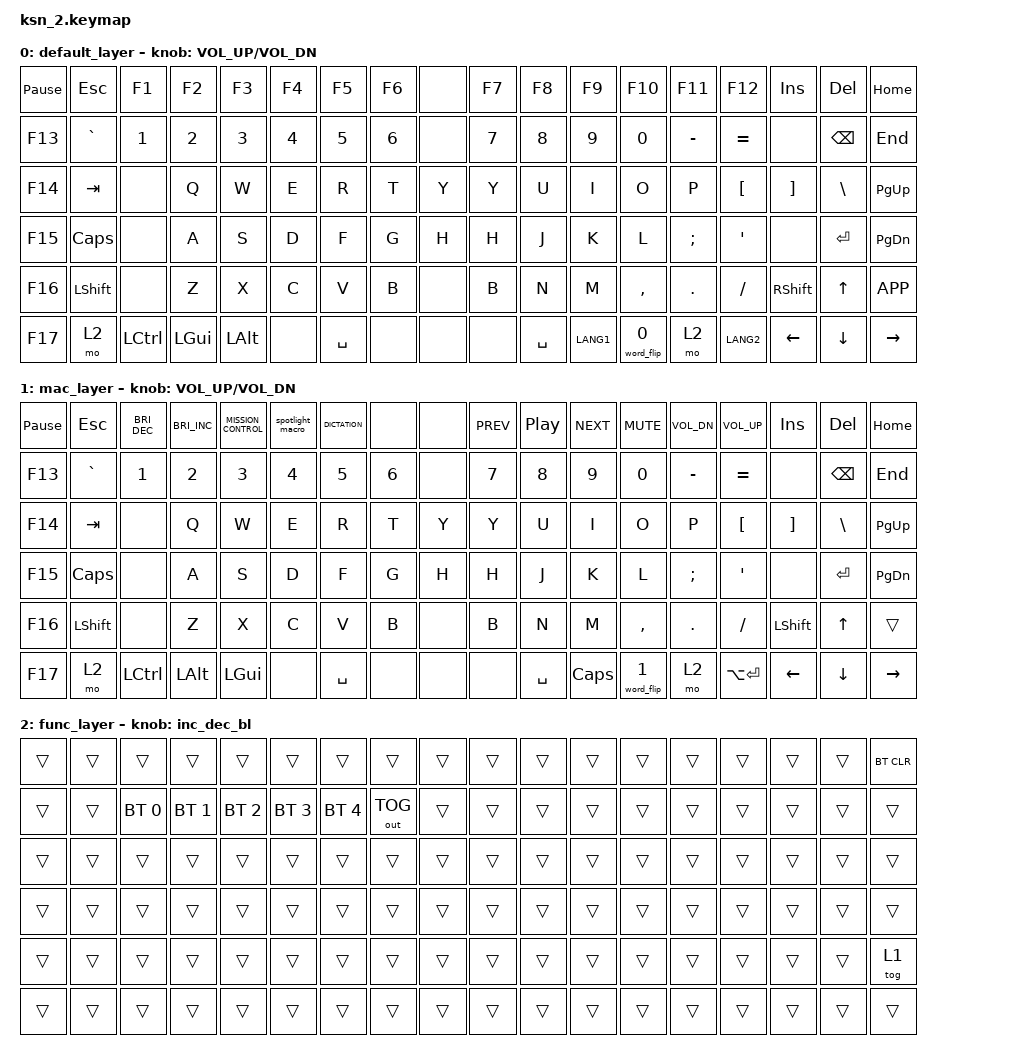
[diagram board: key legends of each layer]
#include <behaviors.dtsi>
#include <dt-bindings/zmk/keys.h>
#include <dt-bindings/zmk/bt.h>
#include <dt-bindings/zmk/outputs.h>
#include <dt-bindings/zmk/backlight.h>

/* macOS F-row 전용 커스텀 consumer usage (ZMK 코어 keys.h에 없어 직접 정의):
   - C_MISSION_CONTROL: Consumer Page(0x0C) usage 0x29F. 공식 USB HID Usage
     Tables엔 없지만 QMK가 코어 키코드로 채택했고(KC_MISSION_CONTROL, PR #19884)
     macOS가 실제로 인식하는 값.
   - C_DICTATION: Consumer Page(0x0C) usage 0xD8. 공식 USB HID Usage Tables
     HUTRR99 "Start or Stop Voice Dictation Session" 표준 usage.
   F4(Spotlight)는 전용 HID usage가 불확실해 Cmd+Space 매크로(&spotlight_macro,
   아래 behaviors 참고)로 대체. F6(방해금지모드)은 실제 macOS가 보내는 코드가
   ZMK가 지원하지 않는 Generic Desktop 페이지(usage 0x9B)라 순정 방식 구현 불가 -
   확인 후 빈 키로 유지. */
#define C_MISSION_CONTROL ZMK_HID_USAGE(HID_USAGE_CONSUMER, 0x29F)
#define C_DICTATION       ZMK_HID_USAGE(HID_USAGE_CONSUMER, 0xD8)

/ {
    behaviors {
        /* 한/영 오타 자동 되돌리기 트리거. 파라미터: 0=Windows(Ctrl+Backspace),
           1=macOS(Option+Backspace). 실제 구현은 config/src/ksn2_word_flip.c 참고. */
        word_flip: word_flip {
            compatible = "ksn,behavior-word-flip";
            #binding-cells = <1>;
        };

        vol_encoder: vol_encoder {
            compatible = "zmk,behavior-sensor-rotate-var";
            #sensor-binding-cells = <2>;
            bindings = <&kp>, <&kp>;
            tap-ms = <40>;
        };

        inc_dec_bl: inc_dec_bl {
            compatible = "zmk,behavior-sensor-rotate";
            #sensor-binding-cells = <0>;
            bindings = <&bl BL_INC>, <&bl BL_DEC>;
        };

        /* macOS Spotlight 검색 실행 매크로 (Cmd+Space). F4 자리 전용(mac_layer) -
           2020년 이후 최신 맥 F4가 여는 것과 동일한 화면(Spotlight)을 염. */
        spotlight_macro: spotlight_macro {
            compatible = "zmk,behavior-macro";
            #binding-cells = <0>;
            wait-ms = <30>;
            tap-ms = <40>;
            bindings
                = <&macro_press &kp LGUI>
                , <&macro_wait_time 100>
                , <&macro_tap &kp SPACE>
                , <&macro_release &kp LGUI>
                ;
        };
    };

    keymap {
        compatible = "zmk,keymap";

        /*
         * KSN2 Matrix: 6 rows x 18 cols
         *   Left  half: col 0..8  (central, encoder = encoder_left)
         *   Right half: col 9..17 (peripheral, no encoder)
         *
         * sensor-bindings order: <left_sensor>
         *   default_layer : left encoder = volume
         *   func_layer    : left encoder = backlight
         *   mac_layer     : left encoder = volume
         *
         * -- LEFT half (col 0..8) -------------------------------------------
         *  R0:  PAUSE ESC   F1    F2    F3    F4    F5    F6    —
         *  R1:  BSPC  `     1     2     3     4     5     6     —
         *  R2:  DEL   TAB   —     Q     W     E     R     T     Y
         *  R3:  MAC3  CAPS  —     A     S     D     F     G     H     (Windows: Win+L / Mac: Cmd+Ctrl+Q — both lock screen; func_layer: toggles Mac layer)
         *  R4:  MAC1  LSHFT —     Z     X     C     V     B     —     (Windows: Ctrl+Alt+Del / Mac: Cmd+Opt+Esc)
         *  R5:  MAC2  MO1   LCTRL LGUI  LALT  —     SPC   —     —     (Windows: Win+Shift+S / Mac: Cmd+Shift+4)
         *
         * -- RIGHT half (col 9..17) -----------------------------------------
         *  R0:  F7    F8    F9    F10   F11   F12   INS   DEL   HOME
         *  R1:  7     8     9     0     -     =     —     BSPC  END
         *  R2:  Y     U     I     O     P     [     ]     \     PGUP
         *  R3:  H     J     K     L     ;     '     —     RET   PGDN
         *  R4:  B     N     M     ,     .     /     LSHFT UP    K_APP
         *  R5:  —     SPC   LANG1 word_flip MO1   LANG2 LEFT  DOWN  RIGHT
         *
         * Notes:
         *  - RC(row, 0..8)  = left half cols
         *  - RC(row, 9..17) = right half cols
         *  - mac1, mac2, and mac3 are system shortcut keys.
         *  - col 8 on left (RC(x,8)) is &none - hardware not wired
         *  - 2026-09-05: RALT(우측 col12) -> LANG1(한/영). KSN-1과 동일한
         *    표준 HID usage(0x90) - Win10 1809+/macOS에서 동작, "PC/AT 101키
         *    호환 키보드(종류 1)" 드라이버에서는 인식 안 될 수 있음(ksn1-firmware
         *    참고). default_layer/mac_layer 둘 다 동일하게 적용.
         *  - 2026-09-06: RGUI(우측 col13, Win) -> word_flip(한/영 오타
         *    자동 되돌리기 트리거). default_layer=&word_flip 0(Windows),
         *    mac_layer=&word_flip 1(macOS). 구현은 config/src/ksn2_word_flip.c
         *    참고. 오른쪽 Win/Cmd는 완전히 사라짐 - 왼쪽 col3(LGUI)만 남음.
         *    한자(LANG2)는 이번엔 요청 없어서 추가 안 함; RCTRL(col14)은
         *    그대로 유지.
         *  - 2026-09-06 (v2): 사용자 요청으로 col11(mo 1/FN)과 col13
         *    (word_flip)의 자리를 서로 바꿈. col12(LANG1)는 그대로 가운데에
         *    있고, 이제 col11=&word_flip, col13=&mo 2.
         *  - 2026-09-06 (v3): 사용자 요청으로 스페이스바 우측을
         *    "한/영 - 단어되돌리기 - FN - 한자" 순서로 재배치.
         *    col11=한/영, col12=&word_flip, col13=&mo 2, col14=한자.
         *    OS별로 다른 키코드를 쓰는 두 자리:
         *      col11 한/영  - default_layer=&kp LANG1, mac_layer=&kp CLCK
         *        (macOS는 LANG1을 일본어 JIS 가나 키로 해석해 한/영 전환이
         *         안 됨. Caps Lock은 시스템 설정의 "Caps Lock 키로 ABC 입력
         *         소스 전환"이 켜져 있을 때 짧게 누르면 한/영, 길게 누르면
         *         실제 Caps Lock으로 동작.)
         *      col14 한자   - default_layer=&kp LANG2, mac_layer=&kp LA(RET)
         *        (macOS의 한자 변환은 Option+Return. LANG2는 macOS에서
         *         동작하지 않음.)
         *    주의: 이 변경으로 오른쪽 RCTRL이 사라짐 - Ctrl은 왼쪽
         *    col2(LCTRL)만 남음. 오른쪽 Win/Cmd는 v1에서 이미 사라졌음.
         *  - 2026-09-18: 사용자 요청으로 default_layer 왼쪽 col0의 Pause 아래 매크로키
         *    5개(R1~R5, 기존 Win+L / Win+D / Ctrl+S / Ctrl+C / Ctrl+V)를 F13~F17로
         *    변경(R1=F13, R2=F14, R3=F15, R4=F16, R5=F17). KSN-2만 해당 - KSN-1/KSN-3은
         *    변경하지 않음. mac_layer의 같은 자리(Cmd+Ctrl+Q 잠금/Cmd+Opt+Esc 강제종료/
         *    Cmd+Shift+4 스크린샷)는 그대로 유지됨(func_layer는 &trans라 영향 없음).
         *  - 2026-09-22: 사용자 요청으로 mac_layer 왼쪽 col0의 R1~R5도 동일하게
         *    F13~F17로 변경(R1=F13, R2=F14, R3=F15, R4=F16, R5=F17). 기존 BSPC/DEL
         *    (R1/R2)과 Cmd+Ctrl+Q 잠금/Cmd+Opt+Esc 강제종료/Cmd+Shift+4 스크린샷
         *    (R3~R5)을 모두 대체함 - BSPC/DEL은 오른쪽 col16(R1)/R0 col16(DEL)에
         *    이미 있어 완전히 없어지지는 않음. default_layer와 동일한 레이아웃이 됨.
         */

        default_layer {
            /* left encoder: volume */
            sensor-bindings = <&vol_encoder C_VOL_UP C_VOL_DN>;
            bindings = <
/* LEFT col0..8 */                                                                                /* RIGHT col9..17 */
/* R0 */ &kp PAUSE_BREAK &kp ESC        &kp F1    &kp F2    &kp F3    &kp F4    &kp F5    &kp F6    &none      &kp F7    &kp F8    &kp F9    &kp F10   &kp F11   &kp F12   &kp INS   &kp DEL   &kp HOME
/* R1 */ &kp F13         &kp GRAVE      &kp N1    &kp N2    &kp N3    &kp N4    &kp N5    &kp N6    &none      &kp N7    &kp N8    &kp N9    &kp N0    &kp MINUS &kp EQUAL &none     &kp BSPC  &kp END
/* R2 */ &kp F14         &kp TAB        &none     &kp Q     &kp W     &kp E     &kp R     &kp T     &kp Y      &kp Y     &kp U     &kp I     &kp O     &kp P     &kp LBKT  &kp RBKT  &kp BSLH  &kp PG_UP
/* R3 */ &kp F15         &kp CLCK       &none     &kp A     &kp S     &kp D     &kp F     &kp G     &kp H      &kp H     &kp J     &kp K     &kp L     &kp SEMI  &kp SQT   &none     &kp RET   &kp PG_DN
/* R4 */ &kp F16         &kp LSHFT      &none     &kp Z     &kp X     &kp C     &kp V     &kp B     &none      &kp B     &kp N     &kp M     &kp COMMA &kp DOT   &kp FSLH  &kp RSHFT &kp UP    &kp K_APP
/* R5 */ &kp F17         &mo 2          &kp LCTRL &kp LGUI  &kp LALT  &none     &kp SPACE &none     &none      &none     &kp SPACE &kp LANG1        &word_flip 0 &mo 2 &kp LANG2 &kp LEFT  &kp DOWN  &kp RIGHT
            >;
        };

        mac_layer {
            /* left encoder: volume */
            sensor-bindings = <&vol_encoder C_VOL_UP C_VOL_DN>;
            bindings = <
/* R0 */ &kp PAUSE_BREAK &kp ESC        &kp C_BRIGHTNESS_DEC &kp C_BRIGHTNESS_INC &kp C_MISSION_CONTROL &spotlight_macro &kp C_DICTATION &none     &none      &kp C_PREV &kp C_PP  &kp C_NEXT &kp C_MUTE &kp C_VOL_DN &kp C_VOL_UP &kp INS   &kp DEL   &kp HOME
/* R1 */ &kp F13         &kp GRAVE      &kp N1    &kp N2    &kp N3    &kp N4    &kp N5    &kp N6    &none      &kp N7    &kp N8    &kp N9    &kp N0    &kp MINUS &kp EQUAL &none     &kp BSPC  &kp END
/* R2 */ &kp F14         &kp TAB        &none     &kp Q     &kp W     &kp E     &kp R     &kp T     &kp Y      &kp Y     &kp U     &kp I     &kp O     &kp P     &kp LBKT  &kp RBKT  &kp BSLH  &kp PG_UP
/* R3 */ &kp F15         &kp CLCK       &none     &kp A     &kp S     &kp D     &kp F     &kp G     &kp H      &kp H     &kp J     &kp K     &kp L     &kp SEMI  &kp SQT   &none     &kp RET   &kp PG_DN
/* R4 */ &kp F16         &kp LSHFT      &none     &kp Z     &kp X     &kp C     &kp V     &kp B     &none      &kp B     &kp N     &kp M     &kp COMMA &kp DOT   &kp FSLH  &kp LSHFT &kp UP    &trans   
/* R5 */ &kp F17         &mo 2          &kp LCTRL &kp LALT  &kp LGUI  &none     &kp SPACE &none     &none      &none     &kp SPACE &kp CLCK         &word_flip 1 &mo 2 &kp LA(RET) &kp LEFT  &kp DOWN  &kp RIGHT
            >;
        };

        /* 레이어 순서: default(0) → mac(1) → func(2).
           func_layer를 맨 위에 두어 FN(&mo 2)을 누르면 Windows/Mac 모드와 관계없이 항상 이 레이어가
           우선한다(ZMK는 켜진 레이어 중 번호가 높은 것부터 확인). &trans 자리는 아래 레이어로 통과하므로
           FN 없이 누른 키는 그대로 mac_layer/default_layer 동작을 한다. Mac 모드 전환은 &tog 1. */
        func_layer {
            /* left encoder: backlight */
            sensor-bindings = <&inc_dec_bl>;
            bindings = <
/* R0 */ &trans     &trans    &trans       &trans       &trans       &trans       &trans       &trans    &trans     &trans    &trans    &trans    &trans    &trans    &trans    &trans    &trans          &bt BT_CLR
/* R1 */ &trans     &trans    &bt BT_SEL 0 &bt BT_SEL 1 &bt BT_SEL 2 &bt BT_SEL 3 &bt BT_SEL 4 &out OUT_TOG &trans  &trans    &trans    &trans    &trans    &trans    &trans    &trans    &trans          &trans
/* R2 */ &trans     &trans    &trans       &trans       &trans       &trans       &trans       &trans    &trans     &trans    &trans    &trans    &trans    &trans    &trans    &trans    &trans          &trans
/* R3 */ &trans     &trans    &trans       &trans       &trans       &trans       &trans       &trans    &trans     &trans    &trans    &trans    &trans    &trans    &trans    &trans    &trans          &trans
/* R4 */ &trans     &trans    &trans       &trans       &trans       &trans       &trans       &trans    &trans     &trans    &trans    &trans    &trans    &trans    &trans    &trans    &trans          &tog 1
/* R5 */ &trans     &trans    &trans       &trans       &trans       &trans       &trans       &trans    &trans     &trans    &trans    &trans    &trans    &trans    &trans    &trans    &trans          &trans
            >;
        };
    };
};
